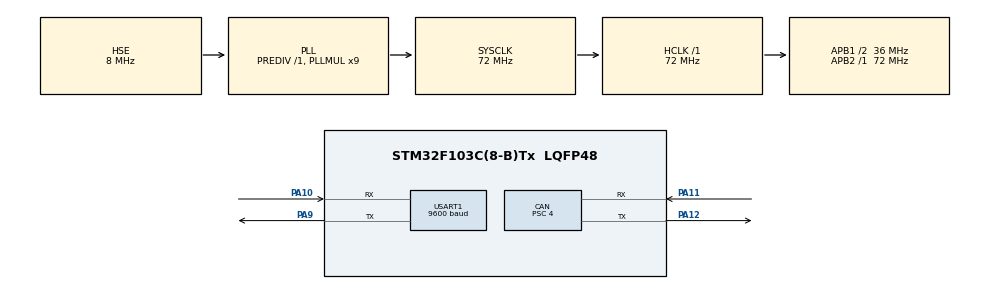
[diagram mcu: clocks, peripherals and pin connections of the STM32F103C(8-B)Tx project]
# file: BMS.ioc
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CAN.ABOM=ENABLE
CAN.BS1=CAN_BS1_15TQ
CAN.BS2=CAN_BS2_2TQ
CAN.CalculateBaudRate=500000
CAN.CalculateTimeBit=2000
CAN.CalculateTimeQuantum=111.11111111111111
CAN.NART=ENABLE
CAN.Prescaler=4
CAN.TXFP=ENABLE
Mcu.Family=STM32F1
Mcu.Name=STM32F103C(8-B)Tx
Mcu.Package=LQFP48
NVIC.PriorityGroup=NVIC_PRIORITYGROUP_4
NVIC.USART1_IRQn=true\:2\:0\:true\:false\:true\:true\:true\:true
PA10.Mode=Asynchronous
PA10.Signal=USART1_RX
PA11.Mode=CAN_Activate
PA11.Signal=CAN_RX
PA12.Mode=CAN_Activate
PA12.Signal=CAN_TX
PA13.Mode=Serial_Wire
PA13.Signal=SYS_JTMS-SWDIO
PA14.Mode=Serial_Wire
PA14.Signal=SYS_JTCK-SWCLK
PA9.Mode=Asynchronous
PA9.Signal=USART1_TX
PD0-OSC_IN.Mode=HSE-External-Oscillator
PD0-OSC_IN.Signal=RCC_OSC_IN
PD1-OSC_OUT.Mode=HSE-External-Oscillator
PD1-OSC_OUT.Signal=RCC_OSC_OUT
ProjectManager.HeapSize=0x200
ProjectManager.StackSize=0x400
ProjectManager.TargetToolchain=MDK-ARM V5.32
RCC.AHBFreq_Value=72000000
RCC.APB1CLKDivider=RCC_HCLK_DIV2
RCC.APB1Freq_Value=36000000
RCC.APB1TimFreq_Value=72000000
RCC.APB2Freq_Value=72000000
RCC.APB2TimFreq_Value=72000000
RCC.HCLKFreq_Value=72000000
RCC.PLLMUL=RCC_PLL_MUL9
RCC.PLLSourceVirtual=RCC_PLLSOURCE_HSE
RCC.SYSCLKFreq_VALUE=72000000
RCC.SYSCLKSource=RCC_SYSCLKSOURCE_PLLCLK
RCC.USBFreq_Value=72000000
USART1.BaudRate=9600
USART1.VirtualMode=VM_ASYNC
board=custom

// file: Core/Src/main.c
/* USER CODE BEGIN Header */

/**
  ******************************************************************************
  * @file           : main.c
  * @brief          : Main program body
  ******************************************************************************
  * @attention
  *
  * Copyright (c) 2026 STMicroelectronics.
  * All rights reserved.
  *
  * This software is licensed under terms that can be found in the LICENSE file
  * in the root directory of this software component.
  * If no LICENSE file comes with this software, it is provided AS-IS.
  *
  ******************************************************************************
  */
/* USER CODE END Header */
#include "main.h"

/* USER CODE BEGIN PTD */
typedef enum{
	total_voltage,
	current,
	balance_capacity,
	rate_capacity,
	cycle,
	production_date,
	balance_status,
	balance_status_High,
	protection_status,
	software_version,
	RSOC,
	FET_control_status,
	battery_series,
	ntc_num,
	ntc_sensor1,
	ntc_sensor2,

	Buffer1_cnt
}Data_Type;

typedef enum{
	Cell_Voltage_1_Series,
	Cell_Voltage_2_Series,
	Cell_Voltage_3_Series,
	Cell_Voltage_4_Series,
	Cell_Voltage_5_Series,
	Cell_Voltage_6_Series,
	Cell_Voltage_7_Series,
	Cell_Voltage_8_Series,
	Cell_Voltage_9_Series,
	Cell_Voltage_10_Series,
	Cell_Voltage_11_Series,
	Cell_Voltage_12_Series,
	Cell_Voltage_13_Series,

	Buffer2_cnt
}Data_Voltage_Series;

//typedef struct{
//	uint32_t ID;
//	uint8_t IDE;
//	uint8_t RTR;
//	uint8_t DLC;
//	uint8_t data[8];
//}TX_Mailbox;

/* USER CODE END PTD */

/* USER CODE BEGIN PD */
#define Num_byte_Req_frame	7
#define Num_byte_RxFrame		34  //Rx_frame of cmd 0x03
#define Num_byte_RxFrame4		33	//Rx_frame of cmd 0x04
#define cmd_03_frame				3
#define cmd_04_frame				4
#define CAN_TX_Buffer				34
/* USER CODE END PD */

CAN_HandleTypeDef hcan;

UART_HandleTypeDef huart1;

/* USER CODE BEGIN PV */
CAN_TxHeaderTypeDef tx_header1;
CAN_TxHeaderTypeDef tx_header2;
CAN_TxHeaderTypeDef tx_header3;
CAN_TxHeaderTypeDef tx_header4;
CAN_TxHeaderTypeDef tx_header5;
CAN_TxHeaderTypeDef tx_header6;
CAN_TxHeaderTypeDef tx_header7;
CAN_TxHeaderTypeDef tx_header8;

//-------UART-------
uint8_t request_frame_03[Num_byte_Req_frame] = {0xDD, 0xA5, 0x03, 0x00, 0xFF, 0xFD, 0x77};
uint8_t request_frame_04[Num_byte_Req_frame] = {0xDD, 0xA5, 0x04, 0x00, 0xFF, 0xFC, 0x77};
uint8_t Rx_buffer[Num_byte_RxFrame] = {}; //Buffer includes raw frame 03
uint8_t Rx_buffer04[Num_byte_RxFrame4] = {};//Buffer includes raw frame 04

static float data_buffer[Buffer1_cnt]; //Real data of frame 03
static float data_buffer2[Buffer2_cnt]; //Real data of frame 04

//Cmd: 0x03 -----Data content interpretation-----
volatile uint8_t header;
volatile uint8_t command;
volatile uint8_t status;
volatile uint8_t data_len;
volatile float raw_total_voltage;
volatile float raw_current;
volatile float raw_balance_capa;
volatile float raw_rate_capa;
volatile float raw_cycle;
volatile float raw_prd_date;
volatile float raw_balance_status;
volatile float raw_balance_status_h;
volatile float raw_protection_status;
volatile float raw_sw_version;
volatile float raw_rsoc;
volatile float raw_fet_ctrl_status;
volatile float raw_batt_series;
volatile float raw_ntc_num;
volatile float raw_ntc_sensor1;
volatile float raw_ntc_sensor2;
volatile float raw_check_sum;
volatile float raw_end_frame;

//Debug data frame
volatile float d_total_voltage = 0.0f;
volatile float d_current = 0.00f;
volatile float d_balance_capa = 0.0f;
volatile float d_rate_capa = 0.0f;
volatile float d_cycle = 0.0f;
volatile float d_prd_date = 0.0f;
volatile float d_balance_status = 0.0f;
volatile float d_balance_status_h = 0.0f;
volatile float d_protection_status = 0.0f;
volatile float d_sw_version = 0.0f;
volatile float d_rsoc = 0.0f;
volatile float d_fet_ctrl_status = 0.0f;
volatile float d_batt_series = 0.0f;
volatile float d_ntc_num = 0.0f;
volatile float d_ntc_sensor1 = 0.0f;
volatile float d_ntc_sensor2 = 0.0f;

volatile uint8_t date = 0;
volatile uint8_t month = 0;
volatile uint16_t year = 0;
volatile float temp_sensor1 = 0.0f;
volatile float temp_sensor2 = 0.0f;

volatile uint16_t check_sum = 0;
volatile uint16_t end_frame = 0;
volatile HAL_StatusTypeDef can_tx_status;
volatile uint32_t can_tx_pending; //if pending = 1 mean frame does not move on mailbox, else mean frame moved on mailbox
volatile uint32_t can_free_mailbox; //number of free mailbox

//Cmd: 0x04 -----Data content interpretation-----
volatile uint8_t header04;
volatile uint8_t command04;
volatile uint8_t status04;
volatile uint8_t data_len04;
volatile float raw_cell_voltage1_series;
volatile float raw_cell_voltage2_series;
volatile float raw_cell_voltage3_series;
volatile float raw_cell_voltage4_series;
volatile float raw_cell_voltage5_series;
volatile float raw_cell_voltage6_series;
volatile float raw_cell_voltage7_series;
volatile float raw_cell_voltage8_series;
volatile float raw_cell_voltage9_series;
volatile float raw_cell_voltage10_series;
volatile float raw_cell_voltage11_series;
volatile float raw_cell_voltage12_series;
volatile float raw_cell_voltage13_series;
volatile float raw_check_sum_04;

//-----Debug Frame 04-----
volatile float d_cell_voltage1 = 0.00f;
volatile float d_cell_voltage2 = 0.00f;
volatile float d_cell_voltage3 = 0.00f;
volatile float d_cell_voltage4 = 0.00f;
volatile float d_cell_voltage5 = 0.00f;
volatile float d_cell_voltage6 = 0.00f;
volatile float d_cell_voltage7 = 0.00f;
volatile float d_cell_voltage8 = 0.00f;
volatile float d_cell_voltage9 = 0.00f;
volatile float d_cell_voltage10 = 0.00f;
volatile float d_cell_voltage11 = 0.00f;
volatile float d_cell_voltage12 = 0.00f;
volatile float d_cell_voltage13 = 0.00f;
volatile uint16_t check_sum04  = 0;

static uint8_t command_turn = cmd_03_frame;
volatile uint8_t uart_ready;

//-----CAN-----

//Transmit data frame 03
uint8_t tx_data1[8];
uint8_t tx_data2[8];
uint8_t tx_data3[8];
uint8_t tx_data4[3];

//Transmit data frame 04
uint8_t tx_data5[8];
uint8_t tx_data6[8];
uint8_t tx_data7[8];
uint8_t tx_data8[2];

uint32_t tx_mailbox;
/* USER CODE END PV */

void SystemClock_Config(void);
static void MX_GPIO_Init(void);
static void MX_USART1_UART_Init(void);
static void MX_CAN_Init(void);

/* USER CODE BEGIN 0 */
void HAL_UART_RxCpltCallback(UART_HandleTypeDef *huart){
	//Doing sth
	uart_ready = 1;
}

void UART_Raw_frame_03(){
	header = Rx_buffer[0];
	command = Rx_buffer[1];
	status = Rx_buffer[2];
	data_len = Rx_buffer[3];
	raw_total_voltage = (float)((Rx_buffer[4] << 8) | (Rx_buffer[5]));
	raw_current = (float)(int16_t)((Rx_buffer[6] << 8) | (Rx_buffer[7]));
	raw_balance_capa = (float)((Rx_buffer[8] << 8) | (Rx_buffer[9]));
	raw_rate_capa = (float)((Rx_buffer[10] << 8) | (Rx_buffer[11]));
	raw_cycle = (float)((Rx_buffer[12] << 8) | (Rx_buffer[13]));
	raw_prd_date = (float)((Rx_buffer[14] << 8) | (Rx_buffer[15]));
	raw_balance_status = (float)((Rx_buffer[16] << 8)| (Rx_buffer[17]));
	raw_balance_status_h = (float)((Rx_buffer[18] << 8) | (Rx_buffer[19]));
	raw_protection_status = (float)((Rx_buffer[20] << 8) | (Rx_buffer[21]));
	raw_sw_version = (float)(Rx_buffer[22]);
	raw_rsoc = (float)(Rx_buffer[23]);
	raw_fet_ctrl_status = (float)(Rx_buffer[24]);
	raw_batt_series = (float)(Rx_buffer[25]);
	raw_ntc_num	= (float)(Rx_buffer[26]);
	raw_ntc_sensor1 = (float)(((Rx_buffer[27]) << 8) | ((Rx_buffer[28])));
	raw_ntc_sensor2 = (float)(((Rx_buffer[29]) << 8) | ((Rx_buffer[30])));
	raw_check_sum = (float)(((Rx_buffer[31]) << 8) | ((Rx_buffer[32])));
	raw_end_frame = (float)(Rx_buffer[33]);
}

void UART_Raw_frame_04(){
	header04 = (float)Rx_buffer04[0];
	command04 = (float)Rx_buffer04[1];
	status04 = (float)Rx_buffer04[2];
	data_len04 = (float)Rx_buffer04[3];
	raw_cell_voltage1_series = (float)((Rx_buffer04[4] << 8) | (Rx_buffer04[5]));
	raw_cell_voltage2_series = (float)(Rx_buffer04[6] << 8 | Rx_buffer04[7]);
	raw_cell_voltage3_series = (float)(Rx_buffer04[8] << 8 | Rx_buffer04[9]);
	raw_cell_voltage4_series = (float)(Rx_buffer04[10] << 8 | Rx_buffer04[11]);
	raw_cell_voltage5_series = (float)(Rx_buffer04[12] << 8 | Rx_buffer04[13]);
	raw_cell_voltage6_series = (float)(Rx_buffer04[14] << 8 | Rx_buffer04[15]);
	raw_cell_voltage7_series = (float)(Rx_buffer04[16] << 8 | Rx_buffer04[17]);
	raw_cell_voltage8_series = (float)(Rx_buffer04[18] << 8 | Rx_buffer04[19]);
	raw_cell_voltage9_series = (float)(Rx_buffer04[20] << 8 | Rx_buffer04[21]);
	raw_cell_voltage10_series = (float)(Rx_buffer04[22] << 8 | Rx_buffer04[23]);
	raw_cell_voltage11_series = (float)(Rx_buffer04[24] << 8 | Rx_buffer04[25]);
	raw_cell_voltage12_series = (float)(Rx_buffer04[26] << 8 | Rx_buffer04[27]);
	raw_cell_voltage13_series = (float)(Rx_buffer04[28] << 8 | Rx_buffer04[29]);
	raw_check_sum_04 = (float)((Rx_buffer04[30] << 8) | (Rx_buffer04[31]));
}

void checksum_frame_cmd_03(){
	uint16_t sum = 0;
	//Check sum = Status + data_len + data[](byte)
	sum += Rx_buffer[2];
	sum += Rx_buffer[3];
	for(uint8_t i = 0; i < data_len; i++){
		sum += Rx_buffer[4 + i];
	}
	check_sum = 0x0000 - sum;
}

void checksum_frame_cmd_04(){
	uint16_t sum04 = 0;

	sum04 += Rx_buffer04[2];
	sum04 += Rx_buffer04[3];
	for(uint8_t i = 0; i < data_len04; i++){
		sum04 += Rx_buffer04[4 + i];
	}
	check_sum04 = 0x0000 - sum04;
}

void UART_Process_Frame(){
	//Decode raw data command 03
	UART_Raw_frame_03();
	UART_Raw_frame_04();
	if(Rx_buffer[2] == 0x80){
		//Error frame
		return;
	}
	else if(Rx_buffer[2] == 0x00){

		checksum_frame_cmd_03();
		checksum_frame_cmd_04();
		if((Rx_buffer[1] == 0x03) && (check_sum == raw_check_sum)){
			data_buffer[total_voltage] = (float)raw_total_voltage/100.00f;
			d_total_voltage = (float)data_buffer[total_voltage]; //Debug

			data_buffer[current] = raw_current/100.00f;
			d_current = (float)data_buffer[current];

			data_buffer[balance_capacity] = raw_balance_capa/100;
			d_balance_capa = (float)data_buffer[balance_capacity];

			data_buffer[rate_capacity] = raw_rate_capa/100;
			d_rate_capa = (float)data_buffer[rate_capacity];

			data_buffer[cycle] = raw_cycle;
			d_cycle = (float)data_buffer[cycle];

			data_buffer[production_date] = raw_prd_date;
			d_prd_date = (float)data_buffer[production_date];

			data_buffer[balance_status] = raw_balance_status;
			d_balance_status = (float)data_buffer[balance_status];

			data_buffer[balance_status_High] = raw_balance_status_h;
			d_balance_status_h = (float)data_buffer[balance_status_High];

			data_buffer[protection_status] = raw_protection_status;
			d_protection_status = (float)data_buffer[protection_status];

			data_buffer[software_version] = raw_sw_version;
			d_sw_version = (float)data_buffer[software_version];

			data_buffer[RSOC] = raw_rsoc;
			d_rsoc = (float)data_buffer[RSOC];

			data_buffer[FET_control_status] = raw_fet_ctrl_status;
			d_fet_ctrl_status = (float)data_buffer[FET_control_status];

			data_buffer[battery_series] = raw_batt_series;
			d_batt_series = (float)data_buffer[battery_series];

			data_buffer[ntc_num] = raw_ntc_num;
			d_ntc_num = (float)data_buffer[ntc_num];

			data_buffer[ntc_sensor1] = raw_ntc_sensor1;
			d_ntc_sensor1 = (float)data_buffer[ntc_sensor1];

			data_buffer[ntc_sensor2] = raw_ntc_sensor2;
			d_ntc_sensor2 = (float)data_buffer[ntc_sensor2];

			date = (uint16_t)data_buffer[production_date] & 0x1F;
			month = (uint16_t)data_buffer[production_date] >> 5 & 0xF;
			year = 2000 + ((uint16_t)data_buffer[production_date] >> 9);
			temp_sensor1 = (data_buffer[ntc_sensor1] - 2731)/10.0f;
			temp_sensor2 = (data_buffer[ntc_sensor2] - 2731)/10.0f;
		}
	}

	//Decode Frame 04
	if(Rx_buffer04[2] == 0x80){
		return;
	}
	else if(Rx_buffer04[2] == 0x00){
		if((Rx_buffer04[1] == 0x04) && (check_sum04 == raw_check_sum_04)){
			data_buffer2[Cell_Voltage_1_Series] = raw_cell_voltage1_series / 1000.0f;
			d_cell_voltage1 = (float)data_buffer2[Cell_Voltage_1_Series];

			data_buffer2[Cell_Voltage_2_Series] = raw_cell_voltage2_series / 1000.0f;
			d_cell_voltage2 = (float)data_buffer2[Cell_Voltage_2_Series];

			data_buffer2[Cell_Voltage_3_Series] = raw_cell_voltage3_series / 1000.0f;
			d_cell_voltage3 = (float)data_buffer2[Cell_Voltage_3_Series];

			data_buffer2[Cell_Voltage_4_Series] = raw_cell_voltage4_series / 1000.0f;
			d_cell_voltage4 = (float)data_buffer2[Cell_Voltage_4_Series];

			data_buffer2[Cell_Voltage_5_Series] = raw_cell_voltage5_series / 1000.0f;
			d_cell_voltage5 = (float)data_buffer2[Cell_Voltage_5_Series];

			data_buffer2[Cell_Voltage_6_Series] = raw_cell_voltage6_series / 1000.0f;
			d_cell_voltage6 = (float)data_buffer2[Cell_Voltage_6_Series];

			data_buffer2[Cell_Voltage_7_Series] = raw_cell_voltage7_series / 1000.0f;
			d_cell_voltage7 = (float)data_buffer2[Cell_Voltage_7_Series];

			data_buffer2[Cell_Voltage_8_Series] = raw_cell_voltage8_series / 1000.0f;
			d_cell_voltage8 = (float)data_buffer2[Cell_Voltage_8_Series];

			data_buffer2[Cell_Voltage_9_Series] = raw_cell_voltage9_series / 1000.0f;
			d_cell_voltage9 = (float)data_buffer2[Cell_Voltage_9_Series];

			data_buffer2[Cell_Voltage_10_Series] = raw_cell_voltage10_series / 1000.0f;
			d_cell_voltage10 = (float)data_buffer2[Cell_Voltage_10_Series];

			data_buffer2[Cell_Voltage_11_Series] = raw_cell_voltage11_series / 1000.0f;
			d_cell_voltage11 = (float)data_buffer2[Cell_Voltage_11_Series];

			data_buffer2[Cell_Voltage_12_Series] = raw_cell_voltage12_series / 1000.0f;
			d_cell_voltage12 = (float)data_buffer2[Cell_Voltage_12_Series];

			data_buffer2[Cell_Voltage_13_Series] = raw_cell_voltage13_series / 1000.0f;
			d_cell_voltage13 = (float)data_buffer2[Cell_Voltage_13_Series];
		}
	}
}

void CAN_Process(){

	//Encode frame 03

	tx_header1.StdId = 0x100;
	tx_header1.IDE = CAN_ID_STD;
	tx_header1.RTR = CAN_RTR_DATA;
	tx_header1.DLC = 8;
	tx_header1.TransmitGlobalTime = DISABLE;
	tx_data1[0] = ((uint16_t)raw_total_voltage >> 8) & 0xFF;
	tx_data1[1] = (uint8_t)raw_total_voltage & 0xFF;
	tx_data1[2] = ((uint16_t)raw_current >> 8) & 0xFF;
	tx_data1[3] = (uint8_t)raw_current & 0xFF;
	tx_data1[4] = ((uint16_t)raw_balance_capa >> 8) & 0xFF;
	tx_data1[5] = (uint8_t)raw_balance_capa & 0xFF;
	tx_data1[6] = ((uint16_t)raw_rate_capa >> 8) & 0xFF;
	tx_data1[7] = (uint8_t)raw_rate_capa & 0xFF;

	tx_header2.StdId = 0x101;
	tx_header2.ExtId = DISABLE;
	tx_header2.IDE = CAN_ID_STD;
	tx_header2.RTR = CAN_RTR_DATA;
	tx_header2.DLC = 8;
	tx_header2.TransmitGlobalTime = DISABLE;
	tx_data2[0] = ((uint16_t)raw_cycle >> 8) & 0xFF;
	tx_data2[1] = ((uint8_t)raw_cycle) & 0xFF;
	tx_data2[2] = ((uint16_t)raw_prd_date >> 8) &0xFF;
	tx_data2[3] = (uint8_t)raw_prd_date & 0xFF;
	tx_data2[4] = ((uint16_t)raw_balance_status >> 8) & 0xFF;
	tx_data2[5] = (uint8_t)raw_balance_status & 0xFF;
	tx_data2[6] = ((uint16_t)raw_balance_status_h >> 8) & 0xFF;
	tx_data2[7] = (uint8_t)raw_balance_status_h & 0xFF;

	tx_header3.StdId = 0x102;
	tx_header3.ExtId = DISABLE;
	tx_header3.IDE = CAN_ID_STD;
	tx_header3.RTR = CAN_RTR_DATA;
	tx_header3.DLC = 8;
	tx_header3.TransmitGlobalTime = DISABLE;
	tx_data3[0] = ((uint16_t)raw_protection_status >> 8) & 0xFF;
	tx_data3[1] = (uint8_t)raw_protection_status & 0xFF;
	tx_data3[2] = (uint8_t)raw_sw_version & 0xFF;
	tx_data3[3] = (uint8_t)raw_rsoc & 0xFF;
	tx_data3[4] = (uint8_t)raw_fet_ctrl_status & 0xFF;
	tx_data3[5] = (uint8_t)raw_batt_series & 0xFF;
	tx_data3[6] = (uint8_t)raw_ntc_num & 0xFF;
	tx_data3[7] = ((uint16_t)raw_ntc_sensor1 >> 8) & 0xFF;

	tx_header4.StdId = 0x104;
	tx_header4.ExtId = DISABLE;
	tx_header4.IDE = CAN_ID_STD;
	tx_header4.RTR = CAN_RTR_DATA;
	tx_header4.DLC = 3;
	tx_header4.TransmitGlobalTime = DISABLE;
	tx_data4[0] = (uint8_t)raw_ntc_sensor1 & 0xFF;
	tx_data4[1] = ((uint16_t)raw_ntc_sensor2 >> 8) & 0xFF;
	tx_data4[2] = (uint8_t)raw_ntc_sensor2 & 0xFF;

	//Encode frame 04
	tx_header5.StdId = 0x105;
	tx_header5.ExtId = DISABLE;
	tx_header5.IDE = CAN_ID_STD;
	tx_header5.RTR = CAN_RTR_DATA;
	tx_header5.DLC = 8;
	tx_header5.TransmitGlobalTime = DISABLE;
	tx_data5[0] = (uint16_t)raw_cell_voltage1_series >> 8 & 0xFF;
	tx_data5[1] = (uint8_t)raw_cell_voltage1_series & 0xFF;
	tx_data5[2] = (uint16_t)raw_cell_voltage2_series >> 8 & 0xFF;
	tx_data5[3] = (uint8_t)raw_cell_voltage2_series & 0xFF;
	tx_data5[4] = (uint16_t)raw_cell_voltage3_series >> 8 & 0xFF;
	tx_data5[5] = (uint8_t)raw_cell_voltage3_series & 0xFF;
	tx_data5[6] = (uint16_t)raw_cell_voltage4_series >> 8 & 0xFF;
	tx_data5[7] = (uint8_t)raw_cell_voltage4_series & 0xFF;

	tx_header6.StdId = 0x106;
	tx_header6.ExtId = DISABLE;
	tx_header6.IDE = CAN_ID_STD;
	tx_header6.RTR = CAN_RTR_DATA;
	tx_header6.DLC = 8;
	tx_header6.TransmitGlobalTime = DISABLE;
	tx_data6[0] = (uint16_t)raw_cell_voltage5_series >> 8 & 0xFF;
	tx_data6[1] = (uint8_t)raw_cell_voltage5_series & 0xFF;
	tx_data6[2] = (uint16_t)raw_cell_voltage6_series >> 8 & 0xFF;
	tx_data6[3] = (uint8_t)raw_cell_voltage6_series & 0xFF;
	tx_data6[4] = (uint16_t)raw_cell_voltage7_series >> 8 & 0xFF;
	tx_data6[5] = (uint8_t)raw_cell_voltage7_series & 0xFF;
	tx_data6[6] = (uint16_t)raw_cell_voltage8_series >> 8 & 0xFF;
	tx_data6[7] = (uint8_t)raw_cell_voltage8_series & 0xFF;

	tx_header7.StdId = 0x107;
	tx_header7.ExtId = DISABLE;
	tx_header7.IDE = CAN_ID_STD;
	tx_header7.RTR = CAN_RTR_DATA;
	tx_header7.DLC = 8;
	tx_header7.TransmitGlobalTime = DISABLE;
	tx_data7[0] = (uint16_t)raw_cell_voltage9_series >> 8 & 0xFF;
	tx_data7[1] = (uint8_t)raw_cell_voltage9_series & 0xFF;
	tx_data7[2] = (uint16_t)raw_cell_voltage10_series >> 8 & 0xFF;
	tx_data7[3] = (uint8_t)raw_cell_voltage10_series & 0xFF;
	tx_data7[4] = (uint16_t)raw_cell_voltage11_series >> 8 & 0xFF;
	tx_data7[5] = (uint8_t)raw_cell_voltage11_series & 0xFF;
	tx_data7[6] = (uint16_t)raw_cell_voltage12_series >> 8 & 0xFF;
	tx_data7[7] = (uint8_t)raw_cell_voltage12_series & 0xFF;

	tx_header8.StdId = 0x108;
	tx_header8.ExtId = DISABLE;
	tx_header8.IDE = CAN_ID_STD;
	tx_header8.RTR = CAN_RTR_DATA;
	tx_header8.DLC = 2;
	tx_header8.TransmitGlobalTime = DISABLE;
	tx_data8[0] = (uint16_t)raw_cell_voltage13_series >> 8 & 0xFF;
	tx_data8[1] = (uint8_t)raw_cell_voltage13_series & 0xFF;
}

void CAN_Transmit(){
	if(HAL_CAN_GetTxMailboxesFreeLevel(&hcan) > 0){
		HAL_CAN_AddTxMessage(&hcan, &tx_header1, tx_data1, &tx_mailbox);
		HAL_CAN_AddTxMessage(&hcan, &tx_header2, tx_data2, &tx_mailbox);
		HAL_CAN_AddTxMessage(&hcan, &tx_header3, tx_data3, &tx_mailbox);

		if(HAL_CAN_GetTxMailboxesFreeLevel > 0){
			HAL_Delay(1);//Wait to until appear empty 3 of mailboxs
			HAL_CAN_AddTxMessage(&hcan, &tx_header4, tx_data4, &tx_mailbox);
			HAL_CAN_AddTxMessage(&hcan, &tx_header5, tx_data5, &tx_mailbox);
			HAL_CAN_AddTxMessage(&hcan, &tx_header6, tx_data6, &tx_mailbox);

			HAL_Delay(1);//Wait to until appear empty 3 of mailboxs
			HAL_CAN_AddTxMessage(&hcan, &tx_header7, tx_data7, &tx_mailbox);
			HAL_CAN_AddTxMessage(&hcan, &tx_header8, tx_data8, &tx_mailbox);

			HAL_Delay(1);//Wait to until appear empty 3 of mailboxs
		}
		//HAL_CAN_AddTxMessage(&hcan, &tx_header4, tx_data4, &tx_mailbox);
		//can_tx_status = HAL_CAN_AddTxMessage(&hcan, &tx_header1, tx_data1, &tx_mailbox); //Debug
//		if(can_tx_status == HAL_OK){
//			HAL_Delay(1);
//			can_tx_pending = HAL_CAN_IsTxMessagePending(&hcan, tx_mailbox);
//
//			can_free_mailbox = HAL_CAN_GetTxMailboxesFreeLevel(&hcan);
//		}
	}
}

/* USER CODE END 0 */

int main(void)
{

  /* MCU Configuration--------------------------------------------------------*/

  /* Reset of all peripherals, Initializes the Flash interface and the Systick. */
  HAL_Init();

  /* Configure the system clock */
  SystemClock_Config();

  /* Initialize all configured peripherals */
  MX_GPIO_Init();
  MX_USART1_UART_Init();
  MX_CAN_Init();
  /* USER CODE BEGIN 2 */
	HAL_UART_Receive_IT(&huart1, Rx_buffer, sizeof(Rx_buffer));//Function of Receive Interrupt into Buffer03
	HAL_UART_Transmit(&huart1, request_frame_03, sizeof(request_frame_03), 50);
	//HAL_UART_Receive_IT(&huart1, Rx_buffer04, sizeof(Rx_buffer04));//Function of Receive Interrupt into Buffer04
	HAL_CAN_Start(&hcan);
  /* USER CODE END 2 */

  /* Infinite loop */
  while (1)
  {

    /* USER CODE BEGIN 3 */
		if(uart_ready == 1){
			uart_ready = 0;
			if(command_turn == cmd_03_frame){
				command_turn = cmd_04_frame;
				HAL_UART_Transmit(&huart1, request_frame_04, sizeof(request_frame_04), 10);
				HAL_UART_Receive_IT(&huart1, Rx_buffer04, sizeof(Rx_buffer04));
			}
			else{
				command_turn = cmd_03_frame;
				HAL_UART_Transmit(&huart1, request_frame_03, sizeof(request_frame_03), 10);
				HAL_UART_Receive_IT(&huart1, Rx_buffer, sizeof(Rx_buffer));
			}
		}

		UART_Process_Frame();

		CAN_Process();
		CAN_Transmit();

  }
  /* USER CODE END 3 */
}

void SystemClock_Config(void)
{
  RCC_OscInitTypeDef RCC_OscInitStruct = {0};
  RCC_ClkInitTypeDef RCC_ClkInitStruct = {0};

  /** Initializes the RCC Oscillators according to the specified parameters
  * in the RCC_OscInitTypeDef structure.
  */
  RCC_OscInitStruct.OscillatorType = RCC_OSCILLATORTYPE_HSE;
  RCC_OscInitStruct.HSEState = RCC_HSE_ON;
  RCC_OscInitStruct.HSEPredivValue = RCC_HSE_PREDIV_DIV1;
  RCC_OscInitStruct.HSIState = RCC_HSI_ON;
  RCC_OscInitStruct.PLL.PLLState = RCC_PLL_ON;
  RCC_OscInitStruct.PLL.PLLSource = RCC_PLLSOURCE_HSE;
  RCC_OscInitStruct.PLL.PLLMUL = RCC_PLL_MUL9;
  if (HAL_RCC_OscConfig(&RCC_OscInitStruct) != HAL_OK)
  {
    Error_Handler();
  }

  /** Initializes the CPU, AHB and APB buses clocks
  */
  RCC_ClkInitStruct.ClockType = RCC_CLOCKTYPE_HCLK|RCC_CLOCKTYPE_SYSCLK
                              |RCC_CLOCKTYPE_PCLK1|RCC_CLOCKTYPE_PCLK2;
  RCC_ClkInitStruct.SYSCLKSource = RCC_SYSCLKSOURCE_PLLCLK;
  RCC_ClkInitStruct.AHBCLKDivider = RCC_SYSCLK_DIV1;
  RCC_ClkInitStruct.APB1CLKDivider = RCC_HCLK_DIV2;
  RCC_ClkInitStruct.APB2CLKDivider = RCC_HCLK_DIV1;

  if (HAL_RCC_ClockConfig(&RCC_ClkInitStruct, FLASH_LATENCY_2) != HAL_OK)
  {
    Error_Handler();
  }
}

static void MX_CAN_Init(void)
{

  hcan.Instance = CAN1;
  hcan.Init.Prescaler = 4;
  hcan.Init.Mode = CAN_MODE_NORMAL;
  hcan.Init.SyncJumpWidth = CAN_SJW_1TQ;
  hcan.Init.TimeSeg1 = CAN_BS1_15TQ;
  hcan.Init.TimeSeg2 = CAN_BS2_2TQ;
  hcan.Init.TimeTriggeredMode = DISABLE;
  hcan.Init.AutoBusOff = ENABLE;
  hcan.Init.AutoWakeUp = DISABLE;
  hcan.Init.AutoRetransmission = ENABLE;
  hcan.Init.ReceiveFifoLocked = DISABLE;
  hcan.Init.TransmitFifoPriority = ENABLE;
  if (HAL_CAN_Init(&hcan) != HAL_OK)
  {
    Error_Handler();
  }

}

static void MX_USART1_UART_Init(void)
{

  huart1.Instance = USART1;
  huart1.Init.BaudRate = 9600;
  huart1.Init.WordLength = UART_WORDLENGTH_8B;
  huart1.Init.StopBits = UART_STOPBITS_1;
  huart1.Init.Parity = UART_PARITY_NONE;
  huart1.Init.Mode = UART_MODE_TX_RX;
  huart1.Init.HwFlowCtl = UART_HWCONTROL_NONE;
  huart1.Init.OverSampling = UART_OVERSAMPLING_16;
  if (HAL_UART_Init(&huart1) != HAL_OK)
  {
    Error_Handler();
  }

}

static void MX_GPIO_Init(void)
{

  /* GPIO Ports Clock Enable */
  __HAL_RCC_GPIOD_CLK_ENABLE();
  __HAL_RCC_GPIOA_CLK_ENABLE();

}

void Error_Handler(void)
{
  __disable_irq();
  while (1)
  {
  }
}
